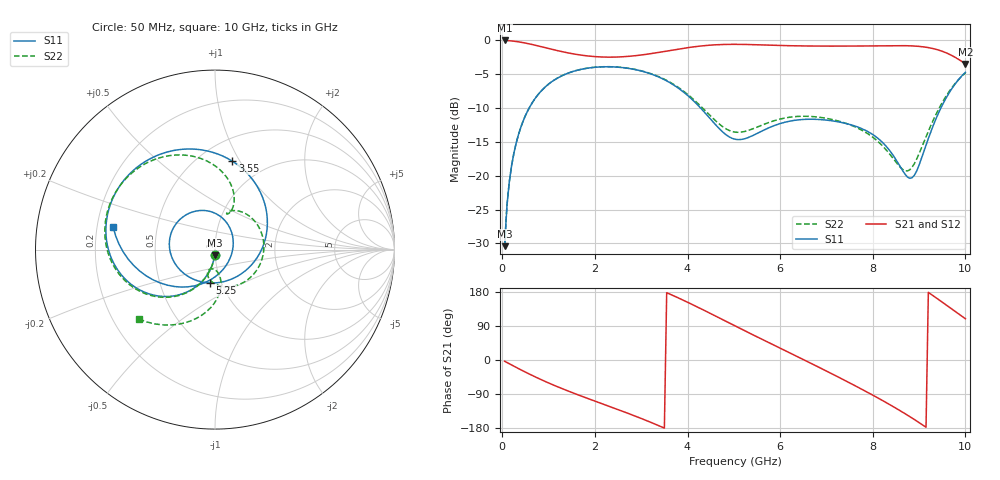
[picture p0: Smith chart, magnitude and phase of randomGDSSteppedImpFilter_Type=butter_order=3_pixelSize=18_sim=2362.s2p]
! freq	dB(S11)	phase(S11)	dB(S12)	phase(S12)
!  dB(S21)	phase(S21)	dB(S22)	phase(S22)
!S-par simulation data
#  GHz  S  DB  R 50
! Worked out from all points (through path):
!   200 points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, 50 MHz to 10 GHz, reference 50 ohm
!   highest |S21| = -0.01 dB at 50 MHz (marker M1); lowest = -3.5 dB at 10 GHz (marker M2)
!   group delay of S21, straight-line fit = 163 ps
!   lowest |S11| = -30.4 dB at 50 MHz (marker M3), VSWR 1.06, Z = 49.7 - j3 ohm
!   |S11| at or under -10 dB: start of sweep to 580.8 MHz; 4.283 GHz to 9.471 GHz (5.188 GHz wide, 75.4 % of centre)
!   |S22| runs from -30.4 to -3.9 dB; largest |S21 - S12| = 0
!   S11 on the Smith chart (normalised r, x): 50 MHz: 0.99, -0.06; 3.55 GHz: 0.71, +0.93; 5.25 GHz: 0.88, -0.34; 10 GHz: 0.27, +0.10
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0.05  -30.41 -93.5  -0.01 -3.3  -0.01 -3.3  -30.41 -93.4
0.1  -24.45 -96.9  -0.03 -6.6  -0.03 -6.6  -24.45 -96.8
0.2  -18.55 -103.6  -0.08 -13.1  -0.08 -13.1  -18.55 -103.4
0.5  -11.11 -122.8  -0.40 -32.0  -0.40 -32.0  -11.11 -122.2
1.05  -6.20 -154.4  -1.28 -63.2  -1.28 -63.2  -6.19 -153.0
1.75  -4.21 170.9  -2.22 -97.2  -2.22 -97.2  -4.21 173.8
2.7  -4.11 126.1  -2.37 -140.1  -2.37 -140.1  -4.09 133.4
3.4  -5.48 88.2  -1.75 -174.4  -1.75 -174.4  -5.43 103.6
3.55  -5.99 78.9  -1.58 177.7  -1.58 177.7  -5.92 97.3
4.25  -9.76 26.1  -0.86 137.6  -0.86 137.6  -9.49 72.1
5.05  -14.64 -71.8  -0.58 88.6  -0.58 88.6  -13.58 71.0
5.25  -14.51 -98.9  -0.60 76.4  -0.60 76.4  -13.43 72.1
6  -12.29 -168.5  -0.75 31.2  -0.75 31.2  -11.63 50.3
6.7  -11.65 152.6  -0.84 -10.8  -0.84 -10.8  -11.26 6.9
7.15  -11.91 132.1  -0.85 -38.4  -0.85 -38.4  -11.74 -26.4
7.6  -12.62 111.4  -0.84 -66.7  -0.84 -66.7  -12.73 -61.0
8  -13.92 89.3  -0.81 -92.7  -0.81 -92.7  -14.31 -89.3
8.35  -16.15 61.8  -0.78 -116.6  -0.78 -116.6  -16.67 -106.4
8.85  -20.30 -29.1  -0.82 -153.3  -0.82 -153.3  -18.74 -88.0
9.2  -14.51 -105.5  -1.07 178.4  -1.07 178.4  -13.42 -81.3
9.65  -7.74 -159.1  -2.04 139.4  -2.04 139.4  -7.54 -108.8
10  -4.72 167.6  -3.47 108.9  -3.47 108.9  -4.82 -137.6
